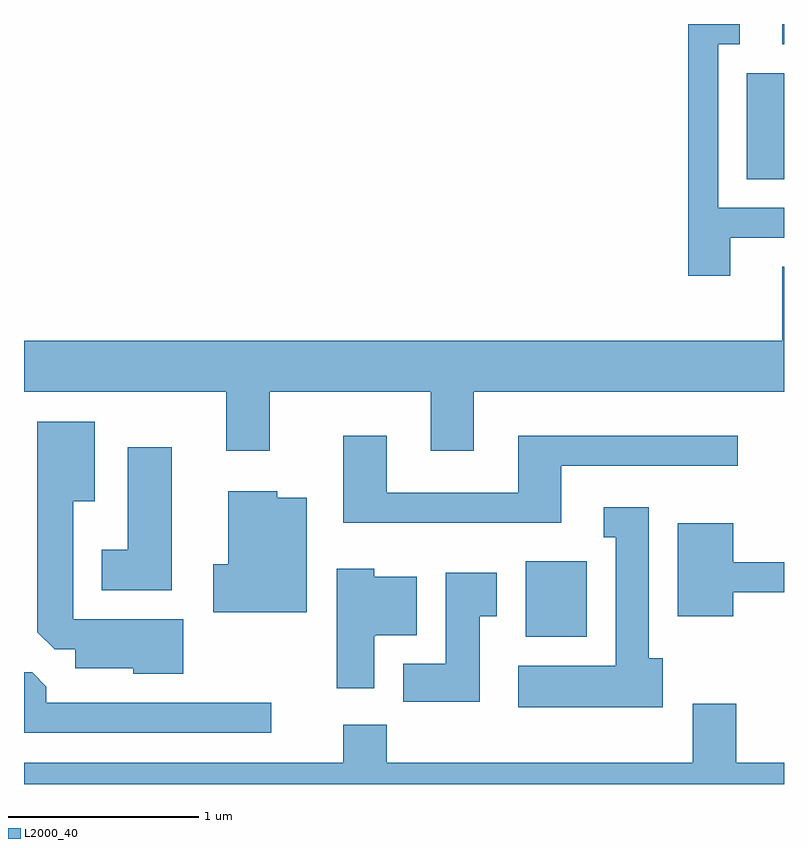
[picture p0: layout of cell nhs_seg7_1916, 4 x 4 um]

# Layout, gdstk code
import gdstk
lib = gdstk.Library(unit=1e-6, precision=1e-09)
def R(c, l, rs):  # rectangles x0, y0, x1, y1
    for r in rs: c.add(gdstk.rectangle(r[:2], r[2:], *l))
def P(c, l, *ps):  # polygons
    for p in ps: c.add(gdstk.Polygon(p, *l))
L2000_40 = (2000, 40)

nhs_seg7_1916 = lib.new_cell('nhs_seg7_1916')
R(nhs_seg7_1916, L2000_40, [(246.251,1713.026,246.574,1713.424), (247.416,1715.436,247.611,1715.994), (247.601,1716.146,247.611,1716.252)])
P(nhs_seg7_1916, L2000_40, [(247.329,1715.126),(247.611,1715.126),(247.611,1715.284),(247.264,1715.284),(247.264,1716.146),(247.378,1716.146),(247.378,1716.252),(247.106,1716.252),(247.106,1714.926),(247.329,1714.926)],
  [(244.904,1714.316),(245.751,1714.316),(245.751,1714.006),(245.979,1714.006),(245.979,1714.316),(247.611,1714.316),(247.611,1714.974),(247.601,1714.974),(247.601,1714.584),(243.611,1714.584),(243.611,1714.316),(244.676,1714.316),(244.676,1714.006),(244.904,1714.006)],
  [(244.449,1713.119),(243.869,1713.119),(243.869,1713.741),(243.984,1713.741),(243.984,1714.159),(243.681,1714.159),(243.681,1713.052),(243.772,1712.961),(243.881,1712.961),(243.881,1712.861),(244.186,1712.861),(244.186,1712.831),(244.449,1712.831)],
  [(246.439,1713.926),(247.368,1713.926),(247.368,1714.084),(246.211,1714.084),(246.211,1713.784),(245.519,1713.784),(245.519,1714.084),(245.291,1714.084),(245.291,1713.626),(246.439,1713.626)],
  [(244.389,1714.024),(244.156,1714.024),(244.156,1713.484),(244.021,1713.484),(244.021,1713.271),(244.389,1713.271)],
  [(245.099,1713.759),(244.944,1713.759),(244.944,1713.794),(244.686,1713.794),(244.686,1713.409),(244.606,1713.409),(244.606,1713.156),(245.099,1713.156)],
  [(246.974,1712.914),(246.899,1712.914),(246.899,1713.709),(246.663,1713.709),(246.663,1713.551),(246.726,1713.551),(246.726,1712.874),(246.211,1712.874),(246.211,1712.656),(246.974,1712.656)],
  [(247.344,1713.261),(247.611,1713.261),(247.611,1713.419),(247.344,1713.419),(247.344,1713.624),(247.051,1713.624),(247.051,1713.136),(247.344,1713.136)],
  [(245.454,1713.03),(245.46,1713.03),(245.46,1713.036),(245.679,1713.036),(245.679,1713.344),(245.454,1713.344),(245.454,1713.384),(245.256,1713.384),(245.256,1712.756),(245.454,1712.756)],
  [(246.009,1713.136),(246.099,1713.136),(246.099,1713.364),(245.831,1713.364),(245.831,1712.884),(245.606,1712.884),(245.606,1712.686),(246.009,1712.686)],
  [(244.913,1712.679),(243.729,1712.679),(243.729,1712.764),(243.654,1712.839),(243.611,1712.839),(243.611,1712.521),(244.913,1712.521)],
  [(247.611,1712.364),(247.359,1712.364),(247.359,1712.674),(247.131,1712.674),(247.131,1712.364),(245.519,1712.364),(245.519,1712.564),(245.291,1712.564),(245.291,1712.364),(243.611,1712.364),(243.611,1712.252),(247.611,1712.252)])

lib.write_gds('nhs_seg7_1916.gds')
